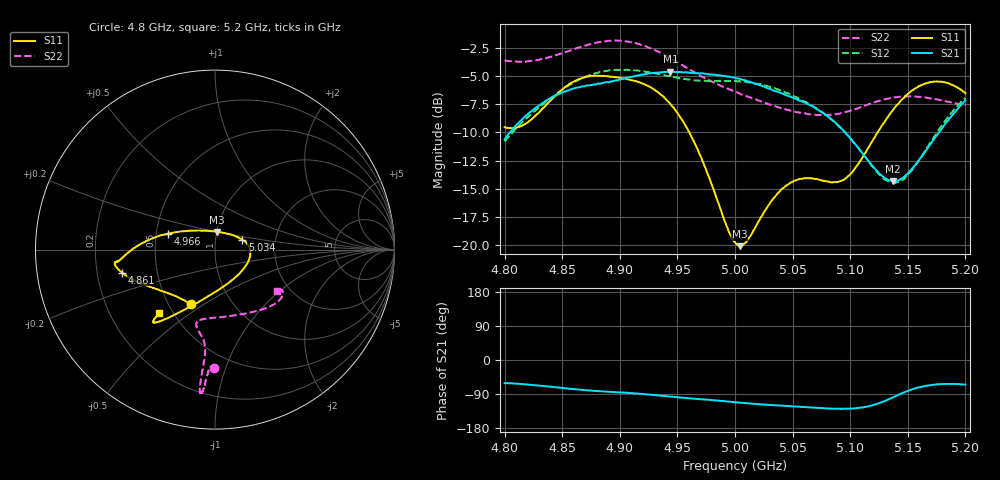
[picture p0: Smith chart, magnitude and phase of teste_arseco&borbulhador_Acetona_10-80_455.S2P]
! Network Analyzer HP8722D
! Hewlett-Packard
! Data name: Linha & Wilkinson
! Saver's name: Rodrigo Anjos
! Comments: Teste da utilização de aquisição
! continua pelo VNA HP8722D
! Time and date: 17/4/2025 18:09
!  Frequency  S11  S21  S12  S22
# HZ  S  MA R 50
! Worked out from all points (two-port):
!   401 points, 4.8 GHz to 5.2 GHz, reference 50 ohm
!   highest |S21| = -4.61 dB at 4.944 GHz (marker M1); lowest = -14.3 dB at 5.137 GHz (marker M2)
!   |S21| within 3 dB of the highest: 4.83 GHz to 5.066 GHz (235.4 MHz wide, 4.76 % of centre); 5.195823 GHz to end of sweep
!   lowest |S11| = -20.1 dB at 5.004 GHz (marker M3), VSWR 1.22, Z = 50.1 + j9.99 ohm
!   |S11| at or under -10 dB: 4.96 GHz to 5.124 GHz (163.3 MHz wide, 3.24 % of centre)
!   |S22| runs from -8.5 to -1.9 dB; largest |S21 - S12| = 0.88
!   S11 on the Smith chart (normalised r, x): 4.8 GHz: 0.64, -0.44; 4.861 GHz: 0.31, -0.11; 4.966 GHz: 0.58, +0.11; 5.034 GHz: 1.35, +0.15; 5.2 GHz: 0.42, -0.38
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4.8e9  0.3337 -113.9  0.2947 -61.0  0.2886 -175.1  0.6569 -90.3
4.819e9  0.3483 -134.0  0.3767 -64.4  0.3645 -174.0  0.6521 -91.9
4.861e9  0.5351 -166.1  0.4966 -77.5  0.5293 -177.2  0.7411 -94.2
4.867e9  0.55 -168.5  0.5056 -79.1  0.5474 -178.2  0.7592 -94.3
4.9e9  0.552 -173.0  0.5414 -85.4  0.5992 175.3  0.8046 -95.7
4.934e9  0.4727 -179.1  0.5813 -93.8  0.5746 171.5  0.7171 -96.1
4.944e9  0.4225 176.3  0.5882 -96.6  0.5595 171.7  0.6734 -96.0
4.966e9  0.2767 161.3  0.5784 -102.2  0.537 173.6  0.5783 -95.4
5e9  0.1034 97.6  0.5526 -111.4  0.5343 175.8  0.4791 -99.7
5.004e9  0.09929 83.9  0.5459 -112.4  0.5328 175.9  0.4709 -100.5
5.012e9  0.1077 58.3  0.5303 -114.4  0.5268 175.7  0.454 -102.2
5.034e9  0.1629 19.8  0.4822 -119.3  0.4967 174.5  0.4143 -103.8
5.05e9  0.1912 3.5  0.4508 -122.0  0.4601 173.8  0.3944 -99.7
5.067e9  0.1981 -14.8  0.4151 -125.2  0.415 173.4  0.3793 -90.6
5.086e9  0.1906 -45.1  0.3537 -128.5  0.3527 173.7  0.3803 -76.0
5.097e9  0.1996 -67.6  0.3097 -128.7  0.3104 174.7  0.3905 -66.9
5.134e9  0.3786 -117.3  0.1939 -102.9  0.1909 -155.9  0.4478 -43.0
5.137e9  0.3966 -119.1  0.1927 -98.8  0.1895 -151.1  0.4508 -41.8
5.149e9  0.463 -124.5  0.2062 -82.6  0.203 -132.6  0.4567 -37.2
5.168e9  0.5254 -129.3  0.2735 -67.0  0.2769 -113.4  0.4482 -32.5
5.184e9  0.5243 -130.8  0.3533 -63.1  0.3651 -107.4  0.4334 -31.3
5.2e9  0.4714 -131.2  0.4378 -64.8  0.4496 -106.7  0.417 -33.8
